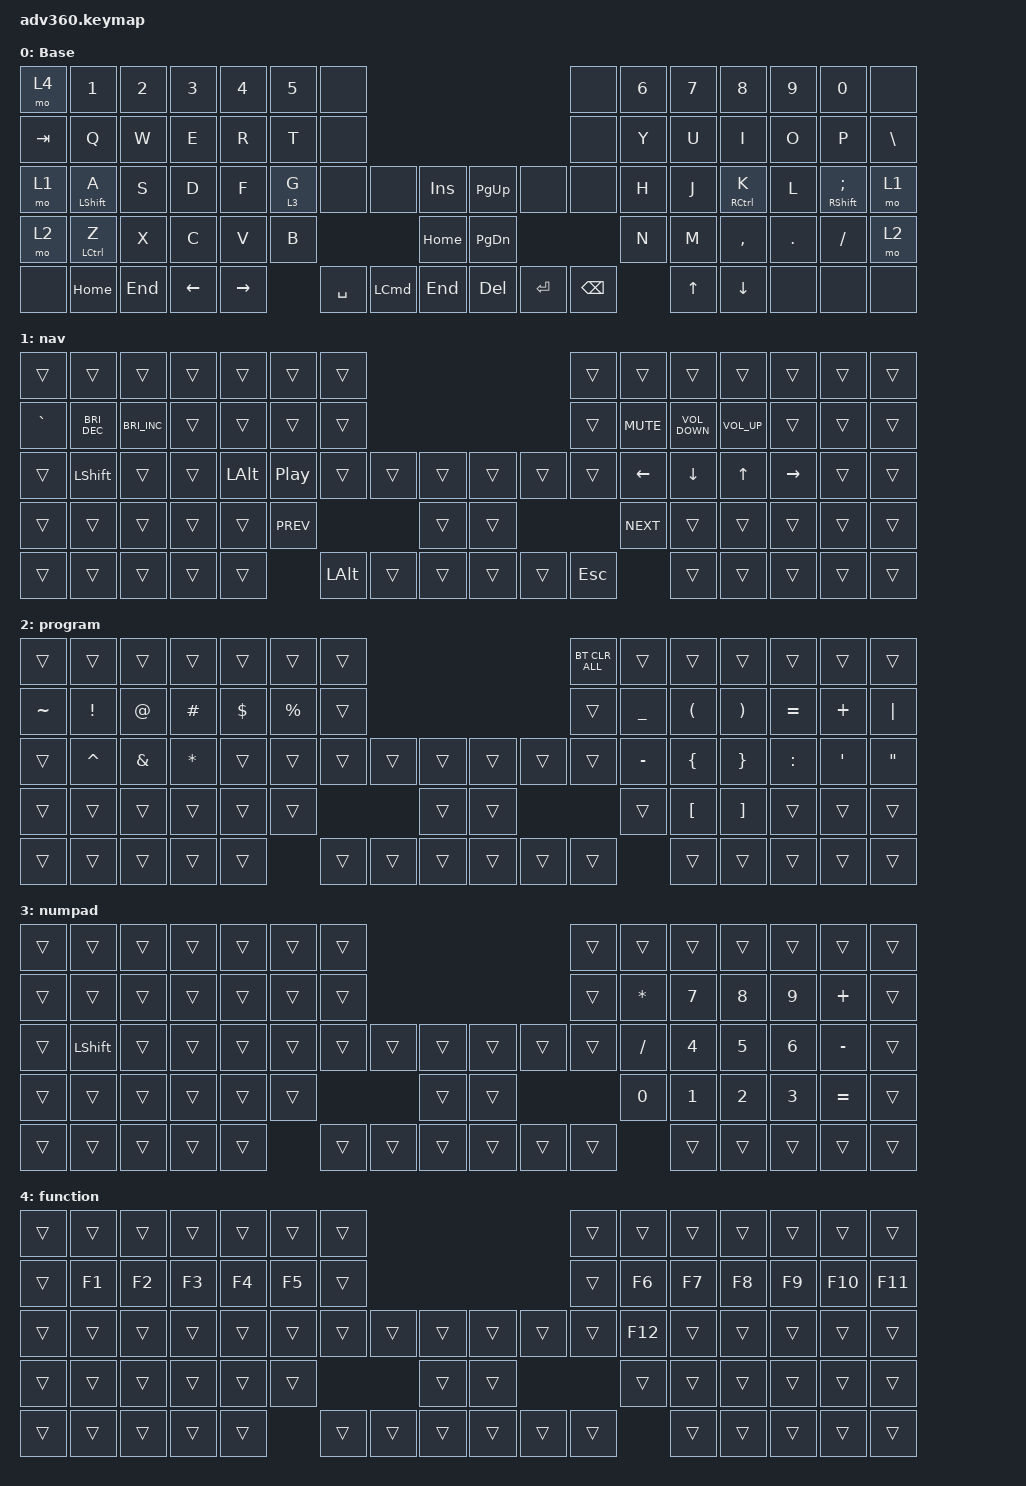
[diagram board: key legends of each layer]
#include <dt-bindings/zmk/stp.h>
#include <behaviors.dtsi>
#include <dt-bindings/zmk/bt.h>
#include <dt-bindings/zmk/keys.h>

/ {
    behaviors {
        #include "macros.dtsi"
      #include "version.dtsi"

        hm: homerow_mods {
            compatible = "zmk,behavior-hold-tap";
            label = "HOMEROW_MODS";
            #binding-cells = <2>;
            tapping-term-ms = <200>;
            quick_tap_ms = <175>;
            flavor = "tap-preferred";
            bindings = <&kp>, <&kp>;
        };
    };

    keymap {
        compatible = "zmk,keymap";

        default_layer {
            display-name = "Base";
            bindings = <
&mo 4    &kp N1            &kp N2   &kp N3    &kp N4     &kp N5   &none                                                                  &none          &kp N6  &kp N7  &kp N8       &kp N9   &kp N0                &none
&kp TAB  &kp Q             &kp W    &kp E     &kp R      &kp T    &none                                                                  &none          &kp Y   &kp U   &kp I        &kp O    &kp P                 &kp BSLH
&mo 1    &hm LEFT_SHIFT A  &kp S    &kp D     &kp F      &lt 3 G  &none      &none             &kp INSERT      &kp PAGE_UP    &none      &none          &kp H   &kp J   &hm RCTRL K  &kp L    &hm RIGHT_SHIFT SEMI  &mo 1
&mo 2    &hm LCTRL Z       &kp X    &kp C     &kp V      &kp B                                 &kp HOME        &kp PAGE_DOWN                            &kp N   &kp M   &kp COMMA    &kp DOT  &kp FSLH              &mo 2
&none    &kp HOME          &kp END  &kp LEFT  &kp RIGHT           &kp SPACE  &kp LEFT_COMMAND  &kp END         &kp DEL        &kp ENTER  &kp BACKSPACE          &kp UP  &kp DOWN     &none    &none                 &none
            >;
        };

        nav {
            bindings = <
&trans     &trans                &trans                &trans  &trans        &trans            &trans                                            &trans      &trans      &trans             &trans           &trans     &trans  &trans
&kp GRAVE  &kp C_BRIGHTNESS_DEC  &kp C_BRIGHTNESS_INC  &trans  &trans        &trans            &trans                                            &trans      &kp C_MUTE  &kp C_VOLUME_DOWN  &kp C_VOLUME_UP  &trans     &trans  &trans
&trans     &kp LEFT_SHIFT        &trans                &trans  &kp LEFT_ALT  &kp C_PLAY_PAUSE  &trans        &trans  &trans      &trans  &trans  &trans      &kp LEFT    &kp DOWN           &kp UP_ARROW     &kp RIGHT  &trans  &trans
&trans     &trans                &trans                &trans  &trans        &kp C_PREV                              &trans      &trans                      &kp C_NEXT  &trans             &trans           &trans     &trans  &trans
&trans     &trans                &trans                &trans  &trans                          &kp LEFT_ALT  &trans  &trans      &trans  &trans  &kp ESCAPE              &trans             &trans           &trans     &trans  &trans
            >;
        };

        program {
            bindings = <
&trans     &trans           &trans         &trans        &trans      &trans       &trans                                      &bt BT_CLR_ALL  &trans          &trans                &trans                 &trans     &trans    &trans
&kp TILDE  &kp EXCLAMATION  &kp AT_SIGN    &kp HASH      &kp DOLLAR  &kp PERCENT  &trans                                      &trans          &kp UNDERSCORE  &kp LEFT_PARENTHESIS  &kp RIGHT_PARENTHESIS  &kp EQUAL  &kp PLUS  &kp PIPE
&trans     &kp CARET        &kp AMPERSAND  &kp ASTERISK  &trans      &trans       &trans  &trans  &trans      &trans  &trans  &trans          &kp MINUS       &kp LEFT_BRACE        &kp RIGHT_BRACE        &kp COLON  &kp SQT   &kp DOUBLE_QUOTES
&trans     &trans           &trans         &trans        &trans      &trans                       &trans      &trans                          &trans          &kp LEFT_BRACKET      &kp RIGHT_BRACKET      &trans     &trans    &trans
&trans     &trans           &trans         &trans        &trans                   &trans  &trans  &trans      &trans  &trans  &trans                          &trans                &trans                 &trans     &trans    &trans
            >;
        };

        numpad {
            bindings = <
&trans  &trans          &trans  &trans  &trans  &trans  &trans                                      &trans  &trans        &trans  &trans  &trans  &trans     &trans
&trans  &trans          &trans  &trans  &trans  &trans  &trans                                      &trans  &kp ASTERISK  &kp N7  &kp N8  &kp N9  &kp PLUS   &trans
&trans  &kp LEFT_SHIFT  &trans  &trans  &trans  &trans  &trans  &trans  &trans      &trans  &trans  &trans  &kp SLASH     &kp N4  &kp N5  &kp N6  &kp MINUS  &trans
&trans  &trans          &trans  &trans  &trans  &trans                  &trans      &trans                  &kp N0        &kp N1  &kp N2  &kp N3  &kp EQUAL  &trans
&trans  &trans          &trans  &trans  &trans          &trans  &trans  &trans      &trans  &trans  &trans                &trans  &trans  &trans  &trans     &trans
            >;
        };

        function {
            bindings = <
&trans  &trans  &trans  &trans  &trans  &trans  &trans                                      &trans  &trans   &trans  &trans  &trans  &trans   &trans
&trans  &kp F1  &kp F2  &kp F3  &kp F4  &kp F5  &trans                                      &trans  &kp F6   &kp F7  &kp F8  &kp F9  &kp F10  &kp F11
&trans  &trans  &trans  &trans  &trans  &trans  &trans  &trans  &trans      &trans  &trans  &trans  &kp F12  &trans  &trans  &trans  &trans   &trans
&trans  &trans  &trans  &trans  &trans  &trans                  &trans      &trans                  &trans   &trans  &trans  &trans  &trans   &trans
&trans  &trans  &trans  &trans  &trans          &trans  &trans  &trans      &trans  &trans  &trans           &trans  &trans  &trans  &trans   &trans
            >;
        };
    };
};
